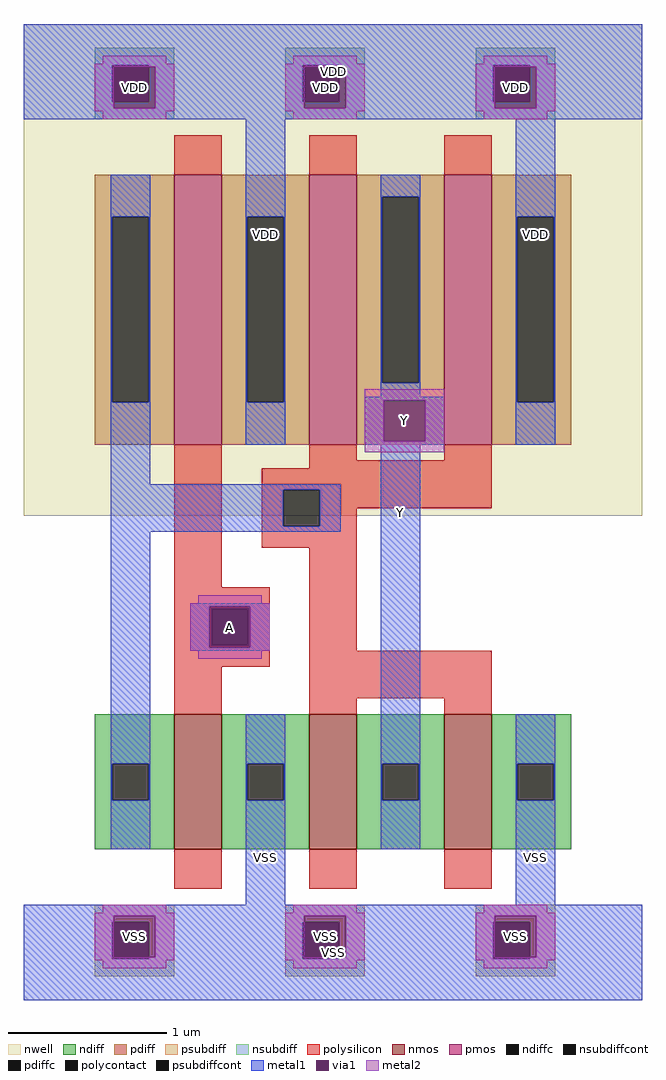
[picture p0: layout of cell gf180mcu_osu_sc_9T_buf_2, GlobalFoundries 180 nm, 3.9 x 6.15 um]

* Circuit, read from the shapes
.subckt gf180mcu_osu_sc_9T_buf_2 A Y VDD VSS
XM1 VSS A n1 VSS nfet_03v3 w=0.85u l=0.3u
XM2 Y n1 VSS VSS nfet_03v3 w=0.85u l=0.3u m=2
XM3 VDD A n1 VDD pfet_03v3 w=1.7u l=0.3u
XM4 Y n1 VDD VDD pfet_03v3 w=1.7u l=0.3u m=2
.ends

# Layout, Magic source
magic
tech gf180mcuC
magscale 1 10
<< nwell >>
rect 0 610 780 1230
<< nmos >>
rect 190 190 250 360
rect 360 190 420 360
rect 530 190 590 360
<< pmos >>
rect 190 700 250 1040
rect 360 700 420 1040
rect 530 700 590 1040
<< ndiff >>
rect 90 298 190 360
rect 90 252 112 298
rect 158 252 190 298
rect 90 190 190 252
rect 250 298 360 360
rect 250 252 282 298
rect 328 252 360 298
rect 250 190 360 252
rect 420 298 530 360
rect 420 252 452 298
rect 498 252 530 298
rect 420 190 530 252
rect 590 298 690 360
rect 590 252 622 298
rect 668 252 690 298
rect 590 190 690 252
<< pdiff >>
rect 90 987 190 1040
rect 90 753 112 987
rect 158 753 190 987
rect 90 700 190 753
rect 250 987 360 1040
rect 250 753 282 987
rect 328 753 360 987
rect 250 700 360 753
rect 420 1012 530 1040
rect 420 778 452 1012
rect 498 778 530 1012
rect 420 700 530 778
rect 590 987 690 1040
rect 590 753 622 987
rect 668 753 690 987
rect 590 700 690 753
<< ndiffc >>
rect 112 252 158 298
rect 282 252 328 298
rect 452 252 498 298
rect 622 252 668 298
<< pdiffc >>
rect 112 753 158 987
rect 282 753 328 987
rect 452 778 498 1012
rect 622 753 668 987
<< psubdiff >>
rect 90 98 190 120
rect 90 52 112 98
rect 158 52 190 98
rect 90 30 190 52
rect 330 98 430 120
rect 330 52 352 98
rect 398 52 430 98
rect 330 30 430 52
rect 570 98 670 120
rect 570 52 592 98
rect 638 52 670 98
rect 570 30 670 52
<< nsubdiff >>
rect 90 1178 190 1200
rect 90 1132 112 1178
rect 158 1132 190 1178
rect 90 1110 190 1132
rect 330 1178 430 1200
rect 330 1132 352 1178
rect 398 1132 430 1178
rect 330 1110 430 1132
rect 570 1178 670 1200
rect 570 1132 592 1178
rect 638 1132 670 1178
rect 570 1110 670 1132
<< psubdiffcont >>
rect 112 52 158 98
rect 352 52 398 98
rect 592 52 638 98
<< nsubdiffcont >>
rect 112 1132 158 1178
rect 352 1132 398 1178
rect 592 1132 638 1178
<< polysilicon >>
rect 190 1040 250 1090
rect 360 1040 420 1090
rect 530 1040 590 1090
rect 190 520 250 700
rect 360 680 420 700
rect 530 680 590 700
rect 360 670 590 680
rect 300 643 590 670
rect 300 597 327 643
rect 373 620 590 643
rect 373 597 420 620
rect 300 570 420 597
rect 190 493 310 520
rect 190 447 237 493
rect 283 447 310 493
rect 190 420 310 447
rect 360 440 420 570
rect 190 360 250 420
rect 360 380 590 440
rect 360 360 420 380
rect 530 360 590 380
rect 190 140 250 190
rect 360 140 420 190
rect 530 140 590 190
<< polycontact >>
rect 327 597 373 643
rect 237 447 283 493
<< metal1 >>
rect 0 1178 780 1230
rect 0 1132 112 1178
rect 158 1176 352 1178
rect 398 1176 592 1178
rect 638 1176 780 1178
rect 166 1132 352 1176
rect 406 1132 592 1176
rect 0 1124 114 1132
rect 166 1124 354 1132
rect 406 1124 594 1132
rect 646 1124 780 1176
rect 0 1110 780 1124
rect 110 987 160 1040
rect 110 753 112 987
rect 158 753 160 987
rect 110 650 160 753
rect 280 987 330 1110
rect 280 753 282 987
rect 328 753 330 987
rect 450 1012 500 1040
rect 450 778 452 1012
rect 498 778 500 1012
rect 450 760 500 778
rect 620 987 670 1110
rect 280 700 330 753
rect 430 756 530 760
rect 430 704 454 756
rect 506 704 530 756
rect 430 700 530 704
rect 620 753 622 987
rect 668 753 670 987
rect 620 700 670 753
rect 110 643 400 650
rect 110 597 327 643
rect 373 597 400 643
rect 110 590 400 597
rect 110 298 160 590
rect 210 496 310 500
rect 210 444 234 496
rect 286 444 310 496
rect 210 440 310 444
rect 110 252 112 298
rect 158 252 160 298
rect 110 190 160 252
rect 280 298 330 360
rect 280 252 282 298
rect 328 252 330 298
rect 280 120 330 252
rect 450 298 500 700
rect 450 252 452 298
rect 498 252 500 298
rect 450 190 500 252
rect 620 298 670 360
rect 620 252 622 298
rect 668 252 670 298
rect 620 120 670 252
rect 0 106 780 120
rect 0 98 114 106
rect 166 98 354 106
rect 406 98 594 106
rect 0 52 112 98
rect 166 54 352 98
rect 406 54 592 98
rect 646 54 780 106
rect 158 52 352 54
rect 398 52 592 54
rect 638 52 780 54
rect 0 0 780 52
<< via1 >>
rect 114 1132 158 1176
rect 158 1132 166 1176
rect 354 1132 398 1176
rect 398 1132 406 1176
rect 594 1132 638 1176
rect 638 1132 646 1176
rect 114 1124 166 1132
rect 354 1124 406 1132
rect 594 1124 646 1132
rect 454 704 506 756
rect 234 493 286 496
rect 234 447 237 493
rect 237 447 283 493
rect 283 447 286 493
rect 234 444 286 447
rect 114 98 166 106
rect 354 98 406 106
rect 594 98 646 106
rect 114 54 158 98
rect 158 54 166 98
rect 354 54 398 98
rect 398 54 406 98
rect 594 54 638 98
rect 638 54 646 98
<< metal2 >>
rect 100 1180 180 1190
rect 340 1180 420 1190
rect 580 1180 660 1190
rect 90 1176 190 1180
rect 90 1124 114 1176
rect 166 1124 190 1176
rect 90 1120 190 1124
rect 330 1176 430 1180
rect 330 1124 354 1176
rect 406 1124 430 1176
rect 330 1120 430 1124
rect 570 1176 670 1180
rect 570 1124 594 1176
rect 646 1124 670 1176
rect 570 1120 670 1124
rect 100 1110 180 1120
rect 340 1110 420 1120
rect 580 1110 660 1120
rect 430 756 530 770
rect 430 704 454 756
rect 506 704 530 756
rect 430 690 530 704
rect 220 500 300 510
rect 210 496 310 500
rect 210 444 234 496
rect 286 444 310 496
rect 210 440 310 444
rect 220 430 300 440
rect 100 110 180 120
rect 340 110 420 120
rect 580 110 660 120
rect 90 106 190 110
rect 90 54 114 106
rect 166 54 190 106
rect 90 50 190 54
rect 330 106 430 110
rect 330 54 354 106
rect 406 54 430 106
rect 330 50 430 54
rect 570 106 670 110
rect 570 54 594 106
rect 646 54 670 106
rect 570 50 670 54
rect 100 40 180 50
rect 340 40 420 50
rect 580 40 660 50
<< labels >>
rlabel metal2 s 100 1110 180 1190 4 VDD
port 6 nsew power bidirectional abutment
rlabel metal2 s 100 40 180 120 4 VSS
port 7 nsew ground bidirectional
rlabel metal2 s 220 430 300 510 4 A
port 1 nsew signal input
rlabel metal2 s 430 690 530 770 4 Y
port 2 nsew signal output
rlabel metal2 s 210 440 310 500 1 A
port 1 nsew signal input
rlabel metal1 s 210 440 310 500 1 A
port 1 nsew signal input
rlabel metal2 s 90 1120 190 1180 1 VDD
port 6 nsew power bidirectional abutment
rlabel metal2 s 340 1110 420 1190 1 VDD
port 6 nsew power bidirectional abutment
rlabel metal2 s 330 1120 430 1180 1 VDD
port 6 nsew power bidirectional abutment
rlabel metal2 s 580 1110 660 1190 1 VDD
port 6 nsew power bidirectional abutment
rlabel metal2 s 570 1120 670 1180 1 VDD
port 6 nsew power bidirectional abutment
rlabel metal1 s 280 700 330 1230 1 VDD
port 6 nsew power bidirectional abutment
rlabel metal1 s 620 700 670 1230 1 VDD
port 6 nsew power bidirectional abutment
rlabel metal1 s 0 1110 780 1230 1 VDD
port 6 nsew power bidirectional abutment
rlabel metal2 s 90 50 190 110 1 VSS
port 7 nsew ground bidirectional
rlabel metal2 s 340 40 420 120 1 VSS
port 7 nsew ground bidirectional
rlabel metal2 s 330 50 430 110 1 VSS
port 7 nsew ground bidirectional
rlabel metal2 s 580 40 660 120 1 VSS
port 7 nsew ground bidirectional
rlabel metal2 s 570 50 670 110 1 VSS
port 7 nsew ground bidirectional
rlabel metal1 s 280 0 330 360 1 VSS
port 7 nsew ground bidirectional
rlabel metal1 s 620 0 670 360 1 VSS
port 7 nsew ground bidirectional
rlabel metal1 s 0 0 780 120 1 VSS
port 7 nsew ground bidirectional
rlabel metal1 s 450 190 500 1040 1 Y
port 2 nsew signal output
rlabel metal1 s 430 700 530 760 1 Y
port 2 nsew signal output
<< properties >>
string FIXED_BBOX 0 0 780 1230
string GDS_END 66900
string GDS_FILE $PDKPATH/libs.ref/gf180mcu_osu_sc_9T/gds/gf180mcu_osu_sc_9T.gds
string GDS_START 60276
string LEFclass CORE
string LEFsite GF018hv5v_mcu_sc7
string LEFsymmetry X Y
<< end >>
